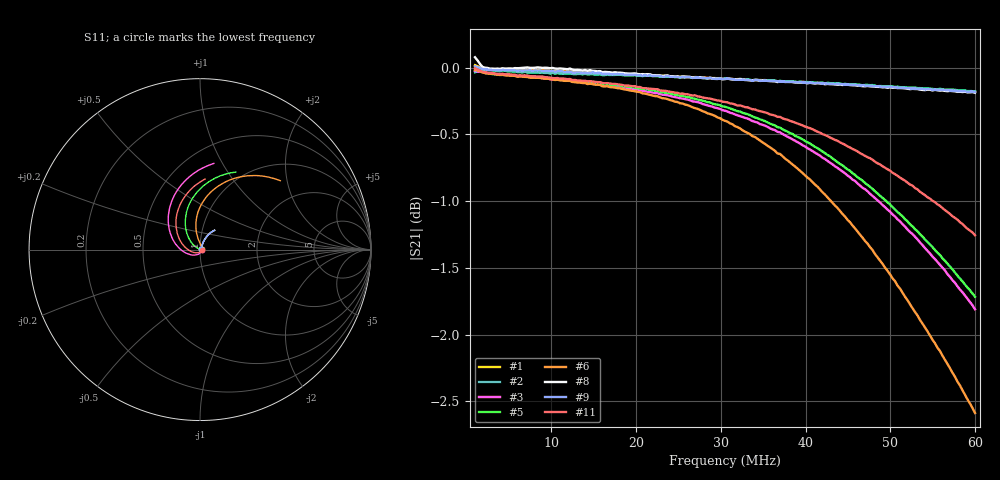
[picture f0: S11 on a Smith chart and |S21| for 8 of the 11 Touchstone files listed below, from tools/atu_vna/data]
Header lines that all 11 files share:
! S11/S21 from S-A-A-2 VNA
! S12 and S22 were not measured (1.5-port VNA) and are written as 0
# HZ S RI R 50
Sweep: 1 MHz to 60 MHz
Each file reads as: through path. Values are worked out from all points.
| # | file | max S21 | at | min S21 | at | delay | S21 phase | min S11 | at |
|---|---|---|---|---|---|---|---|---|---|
| 1 | atu_bypass.s2p | 0.02 dB | 1 MHz | -0.2 dB | 59.41 MHz | 1.7 ns | -19 deg at 30.5 MHz | -42.2 dB | 1 MHz |
| 2 | atu_bypass_end.s2p | -0.01 dB | 2.18 MHz | -0.2 dB | 60 MHz | 1.7 ns | -19 deg at 30.5 MHz | -41.9 dB | 1 MHz |
| 3 | atu_C1.s2p | -0.02 dB | 1 MHz | -1.8 dB | 60 MHz | 6.28 ns | -66 deg at 30.5 MHz | -40.5 dB | 1 MHz |
| 4 | atu_C2.s2p | -0.02 dB | 1 MHz | -3.1 dB | 60 MHz | 6.79 ns | -70 deg at 30.5 MHz | -40.2 dB | 1 MHz |
| 5 | atu_L1.s2p | -0.02 dB | 1 MHz | -1.7 dB | 60 MHz | 6.38 ns | -67 deg at 30.5 MHz | -52.0 dB | 8.375 MHz |
| 6 | atu_L2.s2p | -0.02 dB | 1 MHz | -2.6 dB | 60 MHz | 6.93 ns | -73 deg at 30.5 MHz | -39.8 dB | 1 MHz |
| 7 | atu_warm_0720.s2p | 0.16 dB | 1 MHz | -0.2 dB | 60 MHz | 1.71 ns | -19 deg at 30.5 MHz | -42.2 dB | 1 MHz |
| 8 | atu_warm_0728.s2p | 0.08 dB | 1 MHz | -0.2 dB | 60 MHz | 1.71 ns | -19 deg at 30.5 MHz | -42.3 dB | 1 MHz |
| 9 | atu_warm_0738.s2p | 0.01 dB | 1 MHz | -0.2 dB | 60 MHz | 1.7 ns | -19 deg at 30.5 MHz | -42.3 dB | 1 MHz |
| 10 | atu_zero_CL.s2p | 0.00 dB | 1 MHz | -0.7 dB | 60 MHz | 5.83 ns | -63 deg at 30.5 MHz | -40.7 dB | 1 MHz |
| 11 | atu_zero_LC.s2p | 0.00 dB | 1 MHz | -1.3 dB | 60 MHz | 5.97 ns | -63 deg at 30.5 MHz | -41.0 dB | 1 MHz |
